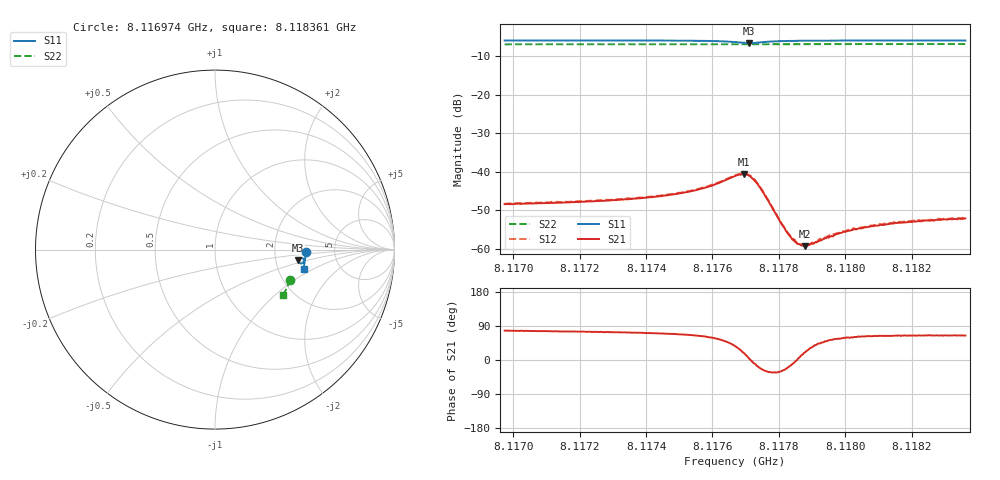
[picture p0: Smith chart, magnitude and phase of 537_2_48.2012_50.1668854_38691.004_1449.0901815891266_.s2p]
#  HZ  S  RI  R  50.00
! Rohde & Schwarz Vector Network Analyzer
! Rohde-Schwarz,ZNB20-2Port,1311601062101988,3.16
! Created: UTC 3/20/2024, 12:00:07 PM
! freq[Hz]  re:S11  im:S11  re:S21  im:S21  re:S12  im:S12  re:S22  im:S22
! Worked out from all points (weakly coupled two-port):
!   401 points, 8.116974 GHz to 8.118361 GHz, reference 50 ohm
!   highest |S21| = -40.55 dB at 8.117696 GHz (marker M1); lowest = -59.3 dB at 8.117879 GHz (marker M2)
!   lowest |S11| = -6.6 dB at 8.117709 GHz (marker M3), VSWR 2.76, Z = 134 - j20.7 ohm
!   |S11| at or under -10 dB: nowhere
!   |S22| runs from -6.9 to -6.8 dB; largest |S21 - S12| = 0.00033
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8.1169744e9  0.5064 -0.0138  0.000829 0.00372  0.000842 0.00379  0.4194 -0.1667
8.1172067e9  0.5049 -0.0322  0.00107 0.00396  0.00112 0.00399  0.4138 -0.182
8.1173592e9  0.5033 -0.0451  0.00138 0.00426  0.0014 0.0043  0.4096 -0.1919
8.117439e9  0.5019 -0.0525  0.00164 0.00454  0.0017 0.0046  0.4073 -0.197
8.1175603e9  0.4972 -0.0659  0.00267 0.00534  0.00274 0.00541  0.4037 -0.205
8.1175985e9  0.4934 -0.0709  0.00342 0.00568  0.00357 0.00583  0.4025 -0.2074
8.1176678e9  0.476 -0.0767  0.00706 0.00531  0.00724 0.00535  0.3996 -0.2116
8.1176956e9  0.4655 -0.0685  0.00894 0.00289  0.00911 0.00278  0.3984 -0.2128
8.1177094e9  0.4638 -0.0604  0.00891 0.000728  0.0091 0.000742  0.3981 -0.2134
8.1177233e9  0.4668 -0.0525  0.00791 -0.00108  0.00817 -0.00108  0.3978 -0.2137
8.1177441e9  0.4761 -0.0465  0.00573 -0.00231  0.00585 -0.00239  0.3976 -0.2149
8.117803e9  0.4936 -0.0533  0.00196 -0.00116  0.002 -0.00121  0.3968 -0.219
8.1178343e9  0.4966 -0.0589  0.00139 -0.000376  0.00144 -0.000399  0.3958 -0.2208
8.1178585e9  0.4977 -0.0626  0.00116 9.56e-05  0.00117 9.09e-05  0.3952 -0.2227
8.1178793e9  0.4982 -0.0656  0.00102 0.000385  0.00108 0.000381  0.3946 -0.224
8.1179001e9  0.4986 -0.0681  0.000965 0.000658  0.00101 0.000677  0.3938 -0.2254
8.1179591e9  0.4987 -0.0748  0.000884 0.00118  0.000902 0.0012  0.392 -0.2293
8.118018e9  0.4983 -0.0807  0.000869 0.00152  0.000886 0.00153  0.39 -0.2327
8.11807e9  0.4978 -0.0855  0.000868 0.00173  0.000938 0.00175  0.3881 -0.236
8.1181324e9  0.497 -0.0907  0.000935 0.00189  0.000967 0.00194  0.386 -0.2399
8.1182781e9  0.4947 -0.1026  0.00102 0.00215  0.00105 0.00224  0.3809 -0.2488
8.1183613e9  0.4934 -0.109  0.00107 0.00225  0.0011 0.00227  0.3778 -0.2538
